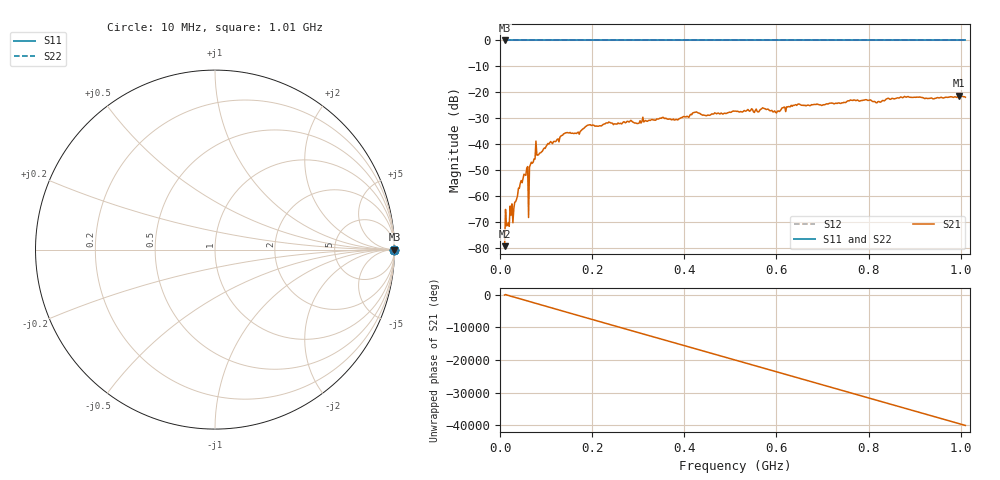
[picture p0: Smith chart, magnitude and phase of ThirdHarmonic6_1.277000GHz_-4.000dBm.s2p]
! 8/16/2025 1:51:31 PM
! C:\ANRITSUVNA\TEMP\TEMP.S2P
! CHANNEL.1
! TR.MEASUREMENT
! RAW.DATA
! RF.CORRECTION.OFF
! AVERAGING.OFF
! IF.BANDWIDTH: 5KHZ
! SWEEPTYPE:  FREQ.SWEEP(Linear)
! Reference Plane Port Info
! PORT:  PORT1  PORT2
! DISTANCE:  0  m  0  m
! TIME:  0  s  0  s
! PHASE.OFFSET:  0  deg.  0  deg.
! LOSS:  0  dB  0  dB
! REF.LOSS:  0  dB  0  dB
! REF.FREQ:  0  Hz  0  Hz
! Power Info
! POWER:  -20  dBm  -20  dBm
! EFF.POWER:  -20  dBm  -20  dBm
! SOURCE.ATTEN:  0  dB  0  dB
! TEST.ATTEN:  0  dB  0  dB
# GHZ S RI R 50.0
! FREQ.GHZ  S11RE  S11IM  S21RE  S21IM  S12RE  S12IM  S22RE  S22IM
!; PortSelection: Port_12
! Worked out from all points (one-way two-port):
!   501 points, 10 MHz to 1.01 GHz, reference 50 ohm
!   highest |S21| = -21.24 dB at 996 MHz (marker M1); lowest = -79.2 dB at 10 MHz (marker M2)
!   lowest |S11| = 0.0 dB at 10 MHz (marker M3)
!   |S11| at or under -10 dB: nowhere
!   |S22| runs from 0.0 to 0.0 dB; largest |S21 - S12| = 1.1
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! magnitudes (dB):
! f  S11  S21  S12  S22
! 10 MHz  0.0  -79.2  0.0  0.0
! 16 MHz  0.0  -71.2  0.0  0.0
! 32 MHz  0.0  -62.3  0.0  0.0
! 48 MHz  0.0  -54.8  0.0  0.0
! 56 MHz  0.0  -51.9  0.0  0.0
! 58 MHz  0.0  -49.2  0.0  0.0
! 66 MHz  0.0  -47.9  0.0  0.0
! 68 MHz  0.0  -46.9  0.0  0.0
! 78 MHz  0.0  -38.7  0.0  0.0
! 142 MHz  0.0  -35.6  0.0  0.0
! 178 MHz  0.0  -34.3  0.0  0.0
! 192 MHz  0.0  -32.6  0.0  0.0
! 344 MHz  0.0  -30.2  0.0  0.0
! 424 MHz  0.0  -27.6  0.0  0.0
! 510 MHz  0.0  -27.2  0.0  0.0
! 572 MHz  0.0  -26.1  0.0  0.0
! 602 MHz  0.0  -27.2  0.0  0.0
! 644 MHz  0.0  -25.0  0.0  0.0
! 678 MHz  0.0  -24.8  0.0  0.0
! 844 MHz  0.0  -22.4  0.0  0.0
! 996 MHz  0.0  -21.2  0.0  0.0
! 1.01 GHz  0.0  -21.9  0.0  0.0
